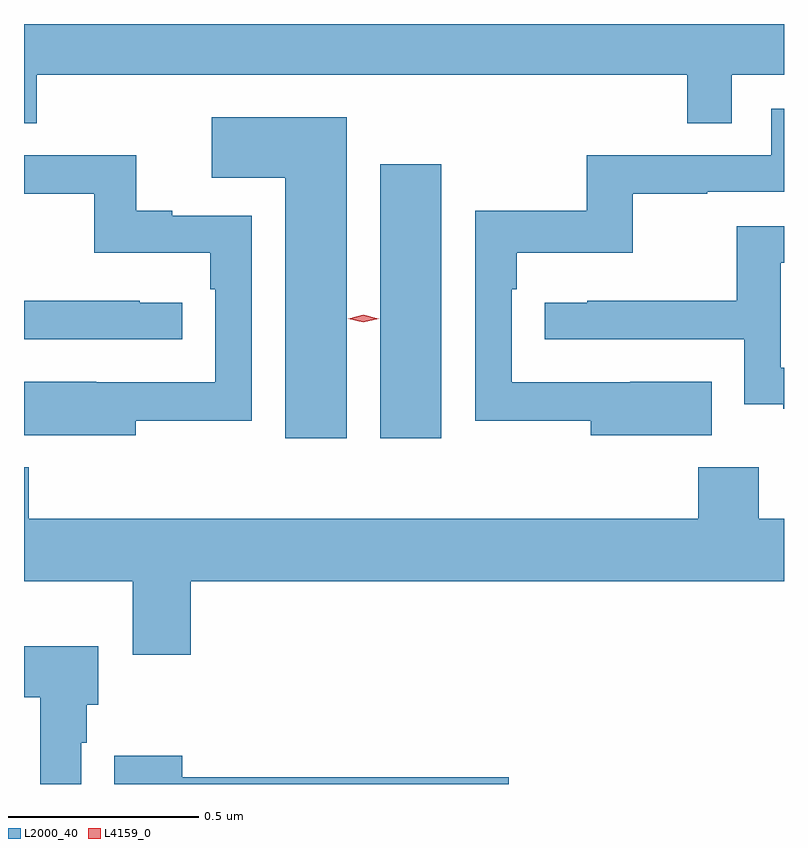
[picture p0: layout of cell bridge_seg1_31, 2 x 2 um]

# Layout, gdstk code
import gdstk
lib = gdstk.Library(unit=1e-6, precision=1e-09)
def R(c, l, rs):  # rectangles x0, y0, x1, y1
    for r in rs: c.add(gdstk.rectangle(r[:2], r[2:], *l))
def P(c, l, *ps):  # polygons
    for p in ps: c.add(gdstk.Polygon(p, *l))
L2000_40 = (2000, 40)
L4159_0 = (4159, 0)

bridge_seg1_31 = lib.new_cell('bridge_seg1_31')
R(bridge_seg1_31, L2000_40, [(975.878,558.768,976.039,559.489)])
P(bridge_seg1_31, L2000_40, [(974.974,559.724),(976.687,559.724),(976.687,559.597),(976.803,559.597),(976.803,559.724),(976.941,559.724),(976.941,559.858),(974.941,559.858),(974.941,559.597),(974.974,559.597)],
  [(976.751,558.916),(976.537,558.916),(976.537,558.915),(976.224,558.915),(976.224,559.16),(976.238,559.16),(976.238,559.256),(976.543,559.256),(976.543,559.411),(976.739,559.411),(976.739,559.416),(976.941,559.416),(976.941,559.635),(976.908,559.635),(976.908,559.512),(976.422,559.512),(976.422,559.366),(976.128,559.366),(976.128,558.814),(976.433,558.814),(976.433,558.776),(976.751,558.776)],
  [(975.79,559.612),(975.435,559.612),(975.435,559.454),(975.629,559.454),(975.629,558.768),(975.79,558.768)],
  [(975.235,558.814),(975.54,558.814),(975.54,559.353),(975.331,559.353),(975.331,559.366),(975.236,559.366),(975.236,559.512),(974.941,559.512),(974.941,559.411),(975.126,559.411),(975.126,559.256),(975.431,559.256),(975.431,559.16),(975.444,559.16),(975.444,558.915),(975.131,558.915),(975.131,558.916),(974.941,558.916),(974.941,558.776),(975.235,558.776)],
  [(976.941,558.954),(976.932,558.954),(976.932,559.23),(976.941,559.23),(976.941,559.326),(976.816,559.326),(976.816,559.13),(976.423,559.13),(976.423,559.125),(976.311,559.125),(976.311,559.029),(976.836,559.029),(976.836,558.857),(976.939,558.857),(976.939,558.846),(976.941,558.846)],
  [(975.358,559.125),(975.245,559.125),(975.245,559.13),(974.941,559.13),(974.941,559.029),(975.358,559.029)],
  [(976.715,558.691),(976.715,558.556),(974.954,558.556),(974.954,558.691),(974.941,558.691),(974.941,558.392),(975.227,558.392),(975.227,558.198),(975.38,558.198),(975.38,558.392),(976.941,558.392),(976.941,558.556),(976.875,558.556),(976.875,558.691)],
  [(975.091,557.966),(975.106,557.966),(975.106,558.066),(975.136,558.066),(975.136,558.22),(974.941,558.22),(974.941,558.086),(974.984,558.086),(974.984,557.858),(975.091,557.858)],
  [(976.216,557.876),(975.358,557.876),(975.358,557.932),(975.179,557.932),(975.179,557.858),(976.216,557.858)])
P(bridge_seg1_31, L4159_0, [(975.834,559.073),(975.794,559.083),(975.794,559.083),(975.794,559.083),(975.834,559.093),(975.874,559.083),(975.874,559.083),(975.874,559.083)])

lib.write_gds('bridge_seg1_31.gds')
